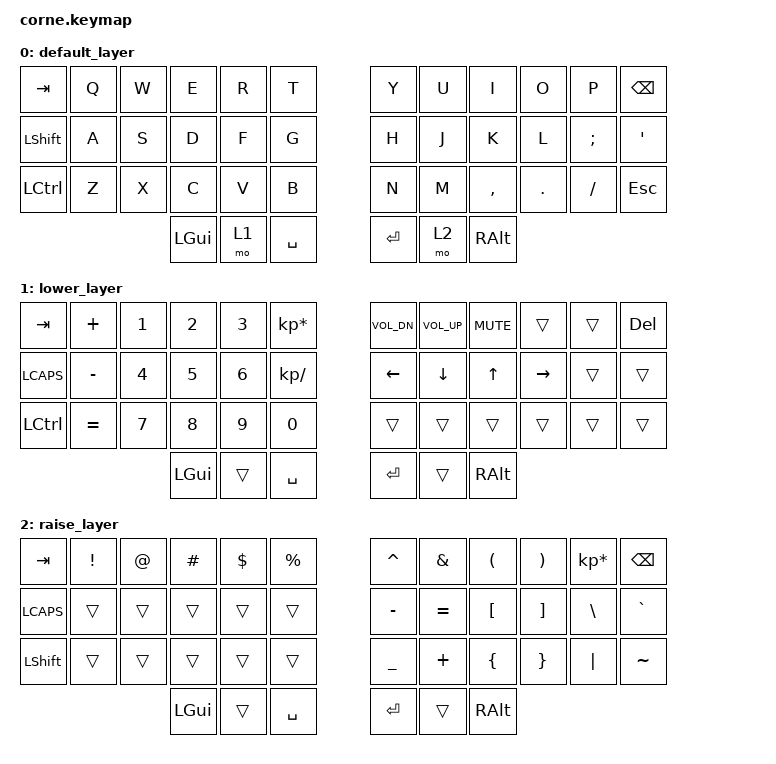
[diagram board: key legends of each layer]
/*
 * Copyright (c) 2020 The ZMK Contributors
 *
 * SPDX-License-Identifier: MIT
 */

#include <behaviors.dtsi>
#include <dt-bindings/zmk/keys.h>
#include <dt-bindings/zmk/bt.h>

/ {
        keymap {
                compatible = "zmk,keymap";

                default_layer {
// -----------------------------------------------------------------------------------------
// |  TAB |  Q  |  W  |  E  |  R  |  T  |   |  Y  |  U   |  I  |  O  |  P  | BKSP |
// | SHFT |  A  |  S  |  D  |  F  |  G  |   |  H  |  J   |  K  |  L  |  ;  |  '   |
// | CTRL |  Z  |  X  |  C  |  V  |  B  |   |  N  |  M   |  ,  |  .  |  /  | ESC  |
//                    | GUI | LWR | SPC |   | ENT | RSE  | ALT |
                        bindings = <
   &kp TAB   &kp Q &kp W &kp E &kp R &kp T   &kp Y &kp U  &kp I     &kp O   &kp P    &kp BSPC
   &kp LSHFT &kp A &kp S &kp D &kp F &kp G   &kp H &kp J  &kp K     &kp L   &kp SEMI &kp SQT
   &kp LCTRL &kp Z &kp X &kp C &kp V &kp B   &kp N &kp M  &kp COMMA &kp DOT &kp FSLH &kp ESC
                  &kp LGUI &mo 1 &kp SPACE   &kp RET &mo 2 &kp RALT
                        >;
                };
                lower_layer {
// -----------------------------------------------------------------------------------------
// |  TAB  |  +  |  1  |  2  |  3  |  *  |   | V_D | V_U | MUT |     |     | DEL |
// | LCAPS |  -  |  4  |  5  |  6  |  /  |   | LFT | DWN |  UP | RGT |     |     |
// | SHFT  |     |  7  |  8  |  9  |  0  |   |     |     |     |     |     |     |
//                    | GUI |     | SPC |   | ENT |     | ALT |
                        bindings = <
   &kp TAB   &kp PLUS  &kp N1 &kp N2 &kp N3 &kp KP_MULTIPLY     &kp C_VOL_DN &kp C_VOL_UP &kp C_MUTE &trans &trans &kp DEL
   &kp LCAPS &kp MINUS &kp N4 &kp N5 &kp N6 &kp KP_DIVIDE       &kp LEFT &kp DOWN &kp UP &kp RIGHT &trans &trans
   &kp LCTRL &kp EQUAL &kp N7 &kp N8 &kp N9 &kp N0              &trans   &trans   &trans &trans    &trans &trans
                             &kp LGUI &trans &kp SPACE           &kp RET  &trans   &kp RALT
                        >;
                };

                raise_layer {
// -----------------------------------------------------------------------------------------
// |  TAB  |  !  |  @  |  #  |  $  |  %  |   |  ^  |  &  |  (  |  )  |  *  | BKSP |
// | LCAPS |     |     |     |     |     |   |  -  |  =  |  [  |  ]  |  \  |  `   |
// | SHFT  |     |     |     |     |     |   |  _  |  +  |  {  |  }  | "|" |  ~   |
//                    | GUI |     | SPC |   | ENT |     | ALT |
                        bindings = <
   &kp  TAB  &kp EXCL &kp AT &kp HASH &kp DLLR &kp PRCNT   &kp CARET &kp AMPS  &kp LPAR &kp RPAR &kp KP_MULTIPLY &kp BSPC
   &kp LCAPS &trans   &trans &trans   &trans   &trans      &kp MINUS &kp EQUAL &kp LBKT &kp RBKT &kp BSLH        &kp GRAVE
   &kp LSHFT &trans   &trans &trans   &trans   &trans      &kp UNDER &kp PLUS  &kp LBRC &kp RBRC &kp PIPE        &kp TILDE
                             &kp LGUI &trans   &kp SPACE   &kp RET   &trans    &kp RALT
                        >;
                };
        };
};
